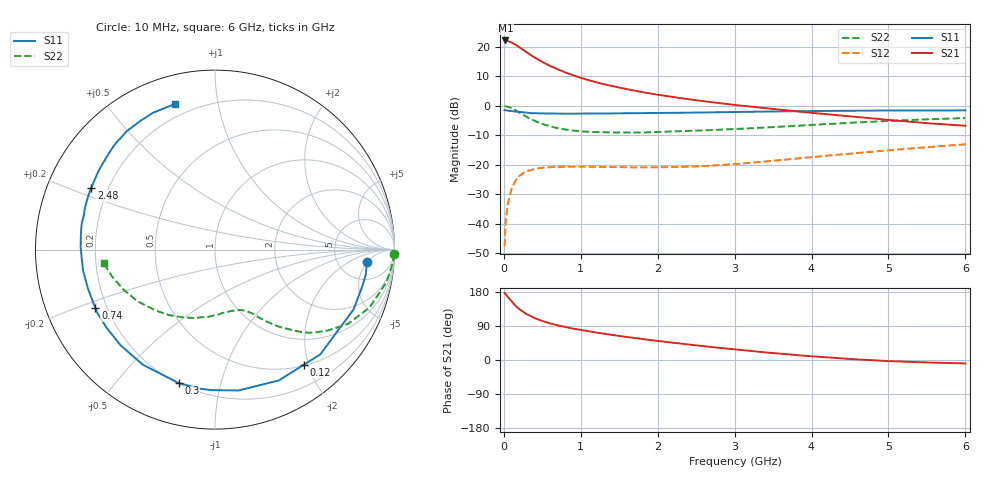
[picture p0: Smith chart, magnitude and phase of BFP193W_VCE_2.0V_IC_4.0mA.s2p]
! Infineon Technologies  Discrete & RF Semiconductors
! BFP193W
! VCE = 2.0 V,  IC =  4.0 mA
! Common Emitter S-Parameters:  Jan 2016
# GHz  S  MA  R  50
!  f  S11  S21  S12  S22
! GHz  MAG  ANG  MAG  ANG  MAG  ANG  MAG  ANG
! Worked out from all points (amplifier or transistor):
!   210 points, 10 MHz to 6 GHz, reference 50 ohm
!   highest |S21| = 22.2 dB at 20 MHz (marker M1)
!   |S21| within 3 dB of that: start of sweep to 240.4 MHz
!   unconditionally stable (mu >= 1): 1.781 GHz to 4.726 GHz
!   at 185 MHz: K = 0.12, MSG = 22.2 dB, |S12| = -24.3 dB
!   at 1.52 GHz: K = 0.88, MSG = 13.4 dB, |S12| = -20.8 dB
!   at 6 GHz: K = 0.95, MSG = 3.2 dB, |S12| = -13.0 dB
!   S11 on the Smith chart (normalised r, x): 10 MHz: 10, -5; 120 MHz: 0.52, -1.93; 300 MHz: 0.20, -0.75; 740 MHz: 0.16, -0.23; 2.48 GHz: 0.14, +0.23; 6 GHz: 0.14, +0.76
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0.01  0.85 -4.6  12.85 176.6  0.0042 87.6  0.9979 -1.4
0.02  0.8512 -9.4  12.89 174.7  0.0087 84.1  0.9908 -4.6
0.03  0.8458 -13.9  12.85 172.1  0.0128 82.5  0.9847 -6.6
0.055  0.8345 -25.4  12.57 165.6  0.0226 76.5  0.9653 -11.8
0.1  0.8276 -44.8  11.94 154.6  0.0387 67.2  0.9194 -20.5
0.12  0.8102 -52.3  11.51 150.4  0.0445 62.5  0.8891 -23.8
0.15  0.8112 -63.9  10.99 143.5  0.0536 57.5  0.8496 -29.1
0.2  0.7958 -80.4  9.909 134.4  0.0647 49.9  0.7755 -35.5
0.24  0.7834 -91.1  9.13 128.5  0.071 44.7  0.7229 -39.7
0.3  0.7708 -105.1  8.029 120.4  0.0783 38.8  0.6479 -44.7
0.4  0.757 -122.1  6.617 110.3  0.0856 31.3  0.5574 -50.4
0.5  0.7488 -134.7  5.558 102.6  0.0896 26.5  0.4948 -54.2
0.6  0.7447 -144.1  4.766 96.5  0.0917 23.0  0.4507 -57.1
0.74  0.7415 -153.9  3.984 89.7  0.0931 20.2  0.4105 -60.0
1.02  0.741 -167.7  2.941 78.5  0.0934 17.0  0.3702 -65.7
1.4  0.7484 179.0  2.183 66.3  0.0924 16.3  0.3558 -73.7
2.02  0.7598 163.1  1.537 49.9  0.0914 21.5  0.3632 -87.5
2.48  0.7702 153.5  1.26 39.1  0.0942 27.3  0.3805 -98.5
3.1  0.7898 141.6  1.008 26.1  0.1058 35.0  0.4118 -113.2
4.1  0.8233 125.4  0.744 8.5  0.1394 40.9  0.4831 -137.5
5.1  0.8365 113.5  0.565 -3.7  0.1819 39.6  0.5643 -158.7
6  0.842 105.2  0.462 -9.1  0.2233 35.8  0.6243 -173.1
